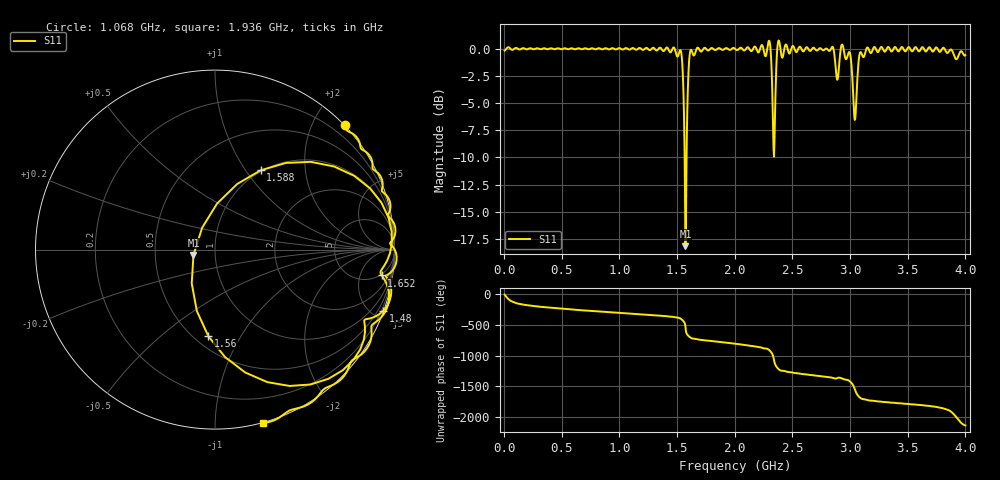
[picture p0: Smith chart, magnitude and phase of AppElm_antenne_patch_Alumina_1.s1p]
! TOUCHSTONE file generated by CST MICROWAVE STUDIO
! Date and time: Thu Jun  9 15:37:32 2022
! Project name: AppElm_antenne_patch_Alumina.cst
! Parameters = {L=30.5; W=41.8; e=0.035; h=1.6; lambda=0.190476; ls=90; w0=1.12; w1=0.373; ws=67.5; y0=14; y1=10}
! Header version: 2018
! Port assignment regex: !\s*Touchstone port\s*([0-9]+)\s*=\s*(CST MWS port|CST DS port)\s*([0-9]+|Zmin|Zmax)\s*\(\"(.*)\"\)(\s*mode\s*([0-9]+))?.*
! Touchstone port assignment:
! Touchstone port 1 = CST MWS port 1 ("")
# GHz S MA R 50
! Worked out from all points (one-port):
!   1000 points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, 4 MHz to 4 GHz, reference 50 ohm
!   lowest |S11| = -18.2 dB at 1.572 GHz (marker M1), VSWR 1.28, Z = 39.2 - j2.37 ohm
!   |S11| at or under -10 dB: 1.565 GHz to 1.582 GHz (16.96 MHz wide, 1.08 % of centre)
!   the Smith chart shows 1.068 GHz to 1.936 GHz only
!   S11 on the Smith chart (normalised r, x): 1.068 GHz: -0.01, +2.48; 1.48 GHz: 0.05, -5.65; 1.56 GHz: 0.59, -0.74; 1.588 GHz: 0.99, +1.18; 1.652 GHz: 5, -11; 1.936 GHz: -0.00, -1.32
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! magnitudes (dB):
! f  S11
! 4 MHz  -0.2
! 504 MHz  0.0
! 1.004 GHz  0.0
! 1.068 GHz  0.0
! 1.48 GHz  0.0
! 1.504 GHz  -0.7
! 1.536 GHz  -0.4
! 1.544 GHz  -1.2
! 1.56 GHz  -6.3
! 1.572 GHz  -18.2
! 1.588 GHz  -5.9
! 1.6 GHz  -1.8
! 1.612 GHz  -0.3
! 1.652 GHz  -0.5
! 1.936 GHz  0.0
! 2.004 GHz  0.0
! 2.296 GHz  0.7
! 2.34 GHz  -9.9
! 2.38 GHz  0.8
! 2.504 GHz  0.3
! 2.84 GHz  0.1
! 2.888 GHz  -2.9
! 2.932 GHz  0.4
! 3.004 GHz  -0.7
! 3.04 GHz  -6.6
! 3.096 GHz  -0.4
! 3.504 GHz  0.1
! 4 GHz  -0.6
